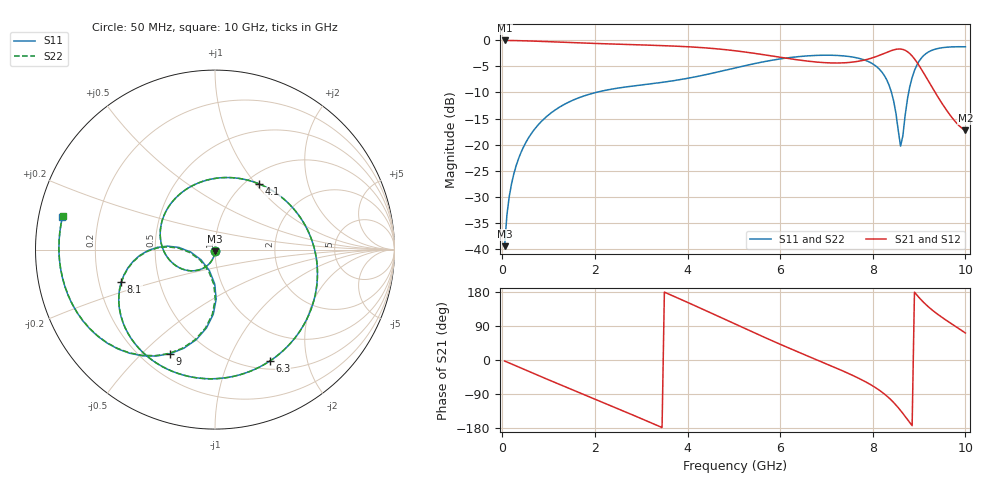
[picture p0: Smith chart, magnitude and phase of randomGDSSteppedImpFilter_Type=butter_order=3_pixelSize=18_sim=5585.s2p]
! freq	dB(S11)	phase(S11)	dB(S12)	phase(S12)
!  dB(S21)	phase(S21)	dB(S22)	phase(S22)
!S-par simulation data
#  GHz  S  DB  R 50
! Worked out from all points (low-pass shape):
!   200 points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, 50 MHz to 10 GHz, reference 50 ohm
!   highest |S21| = 0.00 dB at 50 MHz (marker M1); lowest = -17.3 dB at 10 GHz (marker M2)
!   |S21| within 3 dB of the highest: start of sweep to 5.834 GHz; 8.103 GHz to 8.851 GHz (748.1 MHz wide, 8.83 % of centre)
!   lowest |S11| = -39.5 dB at 50 MHz (marker M3), VSWR 1.02, Z = 49.9 - j1.05 ohm
!   |S11| at or under -10 dB: start of sweep to 2.019 GHz; 8.404 GHz to 8.775 GHz (371.3 MHz wide, 4.32 % of centre)
!   |S22| runs from -39.5 to -1.2 dB; largest |S21 - S12| = 0
!   S11 on the Smith chart (normalised r, x): 50 MHz: 1.00, -0.02; 4.1 GHz: 1.15, +1.04; 6.3 GHz: 0.60, -1.43; 8.1 GHz: 0.30, -0.15; 9 GHz: 0.32, -0.61; 10 GHz: 0.07, +0.10
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0.05  -39.54 -92.4  -0.00 -2.6  -0.00 -2.6  -39.54 -92.4
0.1  -33.52 -95.3  -0.00 -5.3  -0.00 -5.3  -33.52 -95.2
0.2  -27.53 -100.7  -0.01 -10.5  -0.01 -10.5  -27.53 -100.7
0.5  -19.75 -116.8  -0.07 -26.3  -0.07 -26.3  -19.75 -116.8
1.15  -13.31 -150.7  -0.29 -60.0  -0.29 -60.0  -13.31 -150.7
1.75  -10.70 178.5  -0.49 -90.6  -0.49 -90.6  -10.70 178.6
2.65  -8.96 132.5  -0.76 -136.5  -0.76 -136.5  -8.96 132.6
3.4  -8.12 93.5  -0.98 -175.6  -0.98 -175.6  -8.12 93.6
4.1  -7.11 55.9  -1.26 146.6  -1.26 146.6  -7.11 56.0
4.6  -6.17 28.2  -1.58 118.9  -1.58 118.9  -6.17 28.4
5.05  -5.24 3.3  -2.00 93.7  -2.00 93.7  -5.24 3.4
5.65  -4.09 -29.6  -2.75 60.4  -2.75 60.4  -4.09 -29.5
6.3  -3.20 -63.9  -3.63 25.7  -3.63 25.7  -3.20 -63.8
6.7  -2.91 -84.2  -4.08 5.1  -4.08 5.1  -2.90 -84.1
7.4  -2.99 -119.7  -4.29 -31.4  -4.29 -31.4  -2.99 -119.6
8.1  -5.16 -161.1  -3.01 -76.2  -3.01 -76.2  -5.16 -160.8
8.35  -8.55 -179.2  -2.12 -100.1  -2.12 -100.1  -8.53 -178.6
8.6  -20.32 -144.1  -1.65 -133.2  -1.65 -133.2  -19.89 -143.8
8.8  -8.86 -91.5  -2.53 -165.3  -2.53 -165.3  -8.84 -92.4
9  -3.99 -113.4  -4.83 164.6  -4.83 164.6  -3.98 -113.9
9.45  -1.46 -155.4  -11.48 116.4  -11.48 116.4  -1.47 -155.7
10  -1.22 168.0  -17.27 71.2  -17.27 71.2  -1.22 167.7
